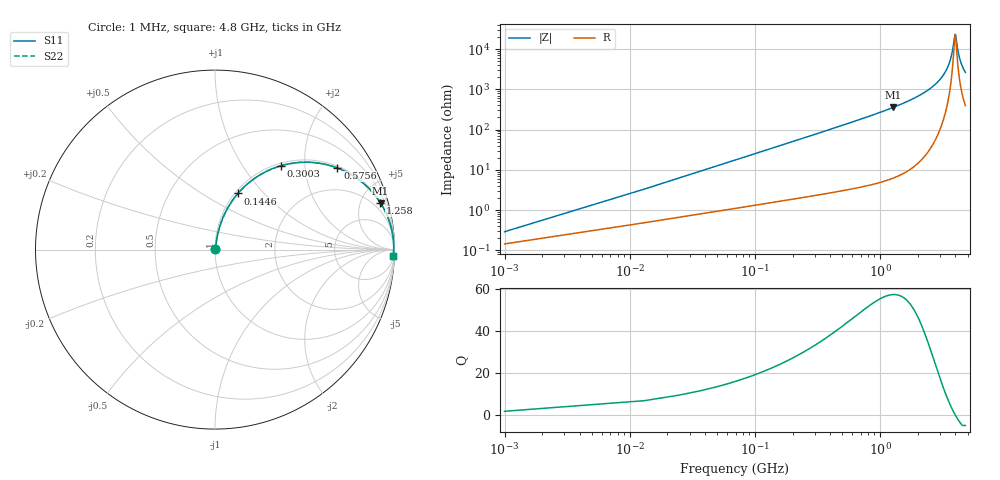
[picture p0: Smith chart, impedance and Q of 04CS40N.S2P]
! Coilcraft 0402CS-40N Chip Inductor
! 29 May 2002
# MHZ S MA R 50
!Freq  MagS11  AngS11  MagS21  AngS21  MagS12  AngS12  MagS22  AngS22
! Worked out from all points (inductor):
!   402 points, 1 MHz to 4.8 GHz, reference 50 ohm
!   read as one part in series: L = 40 nH near 24.94 MHz
!   highest Q = 57.2 at 1.27 GHz (marker M1), where L = 44.5 nH
!   self-resonance near 3.975 GHz
!   S11 on the Smith chart (normalised r, x): 1 MHz: 1.00, +0.01; 144.6 MHz: 1.03, +0.73; 300.2 MHz: 1.05, +1.52; 575.6 MHz: 1.07, +2.95; 1.258 GHz: 1.12, +7.02; 4.8 GHz: 9, -52
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1  0.002892 60.0  0.9986 -0.1  0.9986 -0.1  0.002892 60.0
36.91  0.09199 79.8  0.9879 -5.3  0.9879 -5.3  0.09199 79.8
48.88  0.1212 78.8  0.9836 -6.9  0.9836 -6.9  0.1212 78.8
84.79  0.2065 74.9  0.9668 -11.9  0.9668 -11.9  0.2065 74.9
144.64  0.3376 67.8  0.9267 -19.7  0.9267 -19.7  0.3376 67.8
216.46  0.4722 59.8  0.8649 -28.2  0.8649 -28.2  0.4722 59.8
300.25  0.5961 51.7  0.7851 -36.6  0.7851 -36.6  0.5961 51.7
575.56  0.8198 33.7  0.5547 -55.0  0.5547 -55.0  0.8198 33.7
802.99  0.8965 25.2  0.426 -63.7  0.426 -63.7  0.8965 25.2
1257.85  0.9574 15.8  0.2726 -73.2  0.2726 -73.2  0.9574 15.8
1269.82  0.9583 15.6  0.2697 -73.4  0.2697 -73.4  0.9583 15.6
1604.98  0.9756 11.7  0.2025 -77.3  0.2025 -77.3  0.9756 11.7
2406.97  0.9916 6.0  0.104 -82.4  0.104 -82.4  0.9916 6.0
3208.96  0.9957 2.5  0.04334 -83.0  0.04334 -83.0  0.9957 2.5
3615.94  0.996 1.1  0.01954 -77.6  0.01954 -77.6  0.996 1.1
3771.55  0.9959 0.6  0.01148 -68.9  0.01148 -68.9  0.9959 0.6
3951.1  0.9957 0.1  0.004517 -19.4  0.004517 -19.4  0.9957 0.1
4010.95  0.9957 -0.1  0.004589 18.7  0.004589 18.7  0.9957 -0.1
4178.53  0.9954 -0.6  0.01066 63.9  0.01066 63.9  0.9954 -0.6
4322.17  0.995 -0.9  0.01704 72.6  0.01704 72.6  0.995 -0.9
4537.63  0.9945 -1.5  0.02655 77.2  0.02655 77.2  0.9945 -1.5
4800  0.9936 -2.1  0.03772 79.2  0.03772 79.2  0.9936 -2.1
